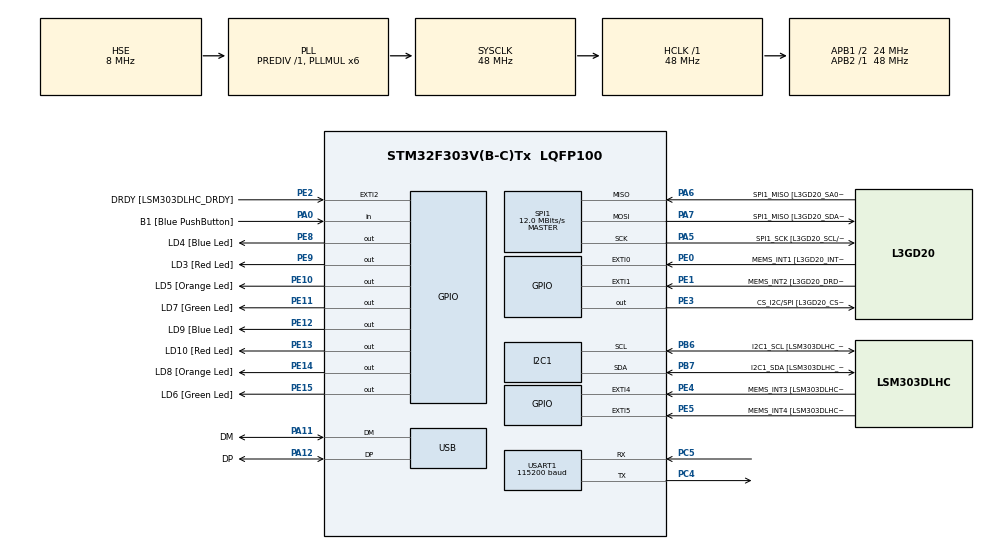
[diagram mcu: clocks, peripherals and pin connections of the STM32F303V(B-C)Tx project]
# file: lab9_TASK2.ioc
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I2C1.Timing=0x00201D2B
I2C1.Timing-I2C=0x2000090E
Mcu.Family=STM32F3
Mcu.Name=STM32F303V(B-C)Tx
Mcu.Package=LQFP100
NVIC.PriorityGroup=NVIC_PRIORITYGROUP_0
PA0.GPIO_Label=B1 [Blue PushButton]
PA0.Signal=GPIO_Input
PA11.GPIO_Label=DM
PA11.Mode=Device
PA11.Signal=USB_DM
PA12.GPIO_Label=DP
PA12.Mode=Device
PA12.Signal=USB_DP
PA13.GPIO_Label=SWDIO
PA13.Mode=Serial_Wire
PA13.Signal=SYS_JTMS-SWDIO
PA14.GPIO_Label=SWCLK
PA14.Mode=Serial_Wire
PA14.Signal=SYS_JTCK-SWCLK
PA5.GPIO_Label=SPI1_SCK [L3GD20_SCL/SPC]
PA5.Mode=Full_Duplex_Master
PA5.Signal=SPI1_SCK
PA6.GPIO_Label=SPI1_MISO [L3GD20_SA0/SDO]
PA6.Mode=Full_Duplex_Master
PA6.Signal=SPI1_MISO
PA7.GPIO_Label=SPI1_MISO [L3GD20_SDA/SDI/SDO]
PA7.Mode=Full_Duplex_Master
PA7.Signal=SPI1_MOSI
PB3.GPIO_Label=SWO
PB3.Signal=SYS_JTDO-TRACESWO
PB6.GPIO_Label=I2C1_SCL [LSM303DLHC_SCL]
PB6.GPIO_Pu=GPIO_PULLUP
PB6.Mode=I2C
PB6.Signal=I2C1_SCL
PB7.GPIO_Label=I2C1_SDA [LSM303DLHC_SDA]
PB7.GPIO_Pu=GPIO_PULLUP
PB7.Mode=I2C
PB7.Signal=I2C1_SDA
PC14-OSC32_IN.GPIO_Label=OSC32_IN
PC14-OSC32_IN.Signal=RCC_OSC32_IN
PC15-OSC32_OUT.GPIO_Label=OSC32_OUT
PC15-OSC32_OUT.Signal=RCC_OSC32_OUT
PC4.Mode=Asynchronous
PC4.Signal=USART1_TX
PC5.Mode=Asynchronous
PC5.Signal=USART1_RX
PE0.GPIO_Label=MEMS_INT1 [L3GD20_INT1]
PE0.GPIO_ModeDefaultEXTI=GPIO_MODE_EVT_RISING
PE0.Signal=GPXTI0
PE1.GPIO_Label=MEMS_INT2 [L3GD20_DRDY/INT2]
PE1.GPIO_ModeDefaultEXTI=GPIO_MODE_EVT_RISING
PE1.Signal=GPXTI1
PE10.GPIO_Label=LD5 [Orange Led]
PE10.Signal=GPIO_Output
PE11.GPIO_Label=LD7 [Green Led]
PE11.Signal=GPIO_Output
PE12.GPIO_Label=LD9 [Blue Led]
PE12.Signal=GPIO_Output
PE13.GPIO_Label=LD10 [Red Led]
PE13.Signal=GPIO_Output
PE14.GPIO_Label=LD8 [Orange Led]
PE14.Signal=GPIO_Output
PE15.GPIO_Label=LD6 [Green Led]
PE15.Signal=GPIO_Output
PE2.GPIO_Label=DRDY [LSM303DLHC_DRDY]
PE2.GPIO_ModeDefaultEXTI=GPIO_MODE_EVT_RISING
PE2.Signal=GPXTI2
PE3.GPIO_Label=CS_I2C/SPI [L3GD20_CS_I2C/SPI]
PE3.Signal=GPIO_Output
PE4.GPIO_Label=MEMS_INT3 [LSM303DLHC_INT1]
PE4.GPIO_ModeDefaultEXTI=GPIO_MODE_EVT_RISING
PE4.Signal=GPXTI4
PE5.GPIO_Label=MEMS_INT4 [LSM303DLHC_INT2]
PE5.GPIO_ModeDefaultEXTI=GPIO_MODE_EVT_RISING
PE5.Signal=GPXTI5
PE8.GPIO_Label=LD4 [Blue Led]
PE8.Signal=GPIO_Output
PE9.GPIO_Label=LD3 [Red Led]
PE9.Signal=GPIO_Output
PF0-OSC_IN.GPIO_Label=OSC_IN
PF0-OSC_IN.Mode=HSE-External-Clock-Source
PF0-OSC_IN.Signal=RCC_OSC_IN
PF1-OSC_OUT.GPIO_Label=OSC_OUT
PF1-OSC_OUT.Signal=RCC_OSC_OUT
ProjectManager.HeapSize=0x200
ProjectManager.StackSize=0x400
ProjectManager.TargetToolchain=CMake
RCC.AHBFreq_Value=48000000
RCC.APB1CLKDivider=RCC_HCLK_DIV2
RCC.APB1Freq_Value=24000000
RCC.APB1TimFreq_Value=48000000
RCC.APB2Freq_Value=48000000
RCC.APB2TimFreq_Value=48000000
RCC.CortexFreq_Value=48000000
RCC.HCLKFreq_Value=48000000
RCC.HSE_VALUE=8000000
RCC.HSI_VALUE=8000000
RCC.LSE_VALUE=32768
RCC.PLLMUL=RCC_PLL_MUL6
RCC.SYSCLKFreq_VALUE=48000000
RCC.SYSCLKSourceVirtual=RCC_SYSCLKSOURCE_PLLCLK
RCC.USBFreq_Value=48000000
SPI1.BaudRatePrescaler=SPI_BAUDRATEPRESCALER_4
SPI1.BaudRatePrescaler-Full_Duplex_Master=SPI_BAUDRATEPRESCALER_2
SPI1.CalculateBaudRate=12.0 MBits/s
SPI1.CalculateBaudRate-Full_Duplex_Master=24.0 MBits/s
SPI1.Direction=SPI_DIRECTION_2LINES
SPI1.Mode=SPI_MODE_MASTER
SPI1.Mode-Full_Duplex_Master=SPI_MODE_MASTER
SPI1.VirtualType=VM_MASTER
USART1.BaudRate=115200
USART1.VirtualMode-Asynchronous=VM_ASYNC
board=STM32F3DISCOVERY

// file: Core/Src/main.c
/* USER CODE BEGIN Header */
/**
  ******************************************************************************
  * @file           : main.c
  * @brief          : Main program body
  ******************************************************************************
  * @attention
  *
  * Copyright (c) 2026 STMicroelectronics.
  * All rights reserved.
  *
  * This software is licensed under terms that can be found in the LICENSE file
  * in the root directory of this software component.
  * If no LICENSE file comes with this software, it is provided AS-IS.
  *
  ******************************************************************************
  */
/* USER CODE END Header */
#include "main.h"

/* USER CODE BEGIN Includes */
#include <stdio.h>
#include <string.h>
#include <stdarg.h>
#include <math.h>
/* USER CODE END Includes */

/* USER CODE BEGIN PTD */
typedef struct {
    float ax, ay, az;
    float offset_x, offset_y, offset_z;
    float roll, pitch;
} LSM_Data;
/* USER CODE END PTD */

/* USER CODE BEGIN PD */
#define LSM_READ_ADDR 0x33 // 8-bit read address
#define WHO_AM_I_REG  0x0F // WHO_AM_I register
#define EXPECTED_ID   0x33 // Expected response

#define LSM303_ADDR   (0x19U << 1)
#define CTRL_REG1_A   0x20U
#define CTRL_REG4_A   0x23U
#define OUT_X_L_A     0x28U
#define ACC_G_PER_LSB 0.004f
#define RAD_TO_DEG    57.2957795f
/* USER CODE END PD */

I2C_HandleTypeDef hi2c1;
SPI_HandleTypeDef hspi1;
UART_HandleTypeDef huart1;

/* USER CODE BEGIN PV */
static LSM_Data sensor = {0};
/* USER CODE END PV */

void SystemClock_Config(void);
static void MX_GPIO_Init(void);
static void MX_I2C1_Init(void);
static void MX_SPI1_Init(void);
static void MX_USART1_UART_Init(void);

/* USER CODE BEGIN PFP */
void myPrintf(const char *fmt, ...);
/* USER CODE END PFP */

/* USER CODE BEGIN 0 */

void myPrintf(const char *fmt, ...)
{
    char buffer[256];
    va_list args;
    va_start(args, fmt);
    vsnprintf(buffer, sizeof(buffer), fmt, args);
    va_end(args);
    HAL_UART_Transmit(&huart1, (uint8_t*)buffer, strlen(buffer), HAL_MAX_DELAY);
}

/* ============================================================================
   TASK 2 FUNCTIONS (Commented out from active execution, but fully preserved)
   ============================================================================ */
/*
static HAL_StatusTypeDef Init_LSM(void)
{
    uint8_t config = 0x67;  // 200 Hz, all axes enabled, normal mode
    if (HAL_I2C_Mem_Write(&hi2c1, LSM303_ADDR, CTRL_REG1_A,
                          I2C_MEMADD_SIZE_8BIT, &config, 1, 100) != HAL_OK)
        return HAL_ERROR;

    config = 0x00;         // +/-2g, normal resolution
    if (HAL_I2C_Mem_Write(&hi2c1, LSM303_ADDR, CTRL_REG4_A,
                          I2C_MEMADD_SIZE_8BIT, &config, 1, 100) != HAL_OK)
        return HAL_ERROR;

    HAL_Delay(50);
    return HAL_OK;
}

static HAL_StatusTypeDef Read_LSM(LSM_Data *s)
{
    uint8_t data[6];
    if (HAL_I2C_Mem_Read(&hi2c1, LSM303_ADDR, OUT_X_L_A | 0x80U,
                        I2C_MEMADD_SIZE_8BIT, data, 6, 100) != HAL_OK)
        return HAL_ERROR;

    int16_t raw_x = (int16_t)(((uint16_t)data[1] << 8) | data[0]);
    int16_t raw_y = (int16_t)(((uint16_t)data[3] << 8) | data[2]);
    int16_t raw_z = (int16_t)(((uint16_t)data[5] << 8) | data[4]);

    s->ax = (raw_x / 64) * ACC_G_PER_LSB - s->offset_x;
    s->ay = (raw_y / 64) * ACC_G_PER_LSB - s->offset_y;
    s->az = (raw_z / 64) * ACC_G_PER_LSB - s->offset_z;

    s->roll = atan2f(s->ay, sqrtf(s->ax*s->ax + s->az*s->az)) * RAD_TO_DEG;
    s->pitch = atan2f(-s->ax, sqrtf(s->ay*s->ay + s->az*s->az)) * RAD_TO_DEG;
    return HAL_OK;
}

static HAL_StatusTypeDef Offset_LSM(LSM_Data *s)
{
    float sx = 0, sy = 0, sz = 0;
    const int samples = 20;
    s->offset_x = s->offset_y = s->offset_z = 0.0f;

    for (int i = 0; i < samples; ++i)
    {
        if (Read_LSM(s) != HAL_OK)
            return HAL_ERROR;
        sx += s->ax;
        sy += s->ay;
        sz += s->az;
        HAL_Delay(20);
    }
    s->offset_x = sx / samples;
    s->offset_y = sy / samples;
    float avg_z = sz / samples;
    s->offset_z = avg_z - ((avg_z >= 0.0f) ? 1.0f : -1.0f);
    return HAL_OK;
}

static void Print_LSM(const LSM_Data *s)
{
    char msg[128];
    int len = snprintf(msg, sizeof(msg), "X: %.3f g | Y: %.3f g | Z: %.3f g | Roll: %.2f° | Pitch: %.2f°\r\n",
                      s->ax, s->ay, s->az, s->roll, s->pitch);
    if (len > 0)
    {
        if (len >= (int)sizeof(msg))
            len = sizeof(msg) - 1;
        HAL_UART_Transmit(&huart1, (uint8_t *)msg, (uint16_t)len, 100);
    }
}
*/
/* USER CODE END 0 */

int main(void)
{

  /* MCU Configuration--------------------------------------------------------*/
  HAL_Init();

  SystemClock_Config();

  /* Initialize all configured peripherals */
  MX_GPIO_Init();
  MX_I2C1_Init();
  MX_SPI1_Init();
  MX_USART1_UART_Init();

  /* USER CODE BEGIN 2 */
  HAL_Delay(100); // sensor boot time[cite: 2]

  // ==========================================
  // TASK 1: Check WHO_AM_I register (ACTIVE)
  // ==========================================
  uint8_t who_am_i = 0;
  HAL_StatusTypeDef ret;

  ret = HAL_I2C_Mem_Read(&hi2c1, LSM_READ_ADDR, WHO_AM_I_REG,
                         I2C_MEMADD_SIZE_8BIT, &who_am_i, 1,
                         HAL_MAX_DELAY);

  if (ret != HAL_OK)
  {
      myPrintf("I2C ERROR: %d\r\n", ret);
  }
  else
  {
      myPrintf("WHO_AM_I = 0x%02X\r\n", who_am_i);
      if (who_am_i == EXPECTED_ID)
      {
          myPrintf("LSM303AGR detected successfully!\r\n");
      }
  }

  /*
  // ==========================================
  // TASK 2: Initialization & Calibration (COMMENTED OUT)
  // ==========================================
  if (Init_LSM() != HAL_OK)
  {
      myPrintf("LSM INIT FAILED\r\n");
      Error_Handler();
  }

  if (Offset_LSM(&sensor) != HAL_OK)
  {
      myPrintf("LSM CALIBRATION FAILED\r\n");
      Error_Handler();
  }
  */
  /* USER CODE END 2 */

  /* Infinite loop */
  while (1)
  {

    /* USER CODE BEGIN 3 */

    /*
    // ==========================================
    // TASK 2: Continuous Read Loop (COMMENTED OUT)
    // ==========================================
    if (Read_LSM(&sensor) == HAL_OK)
    {
        Print_LSM(&sensor);
    }
    else
    {
        myPrintf("LSM READ FAILED\r\n");
    }
    */

    HAL_Delay(100);
  /* USER CODE END 3 */
  }
}

void SystemClock_Config(void)
{
  RCC_OscInitTypeDef RCC_OscInitStruct = {0};
  RCC_ClkInitTypeDef RCC_ClkInitStruct = {0};
  RCC_PeriphCLKInitTypeDef PeriphClkInit = {0};

  RCC_OscInitStruct.OscillatorType = RCC_OSCILLATORTYPE_HSI|RCC_OSCILLATORTYPE_HSE;
  RCC_OscInitStruct.HSEState = RCC_HSE_BYPASS;
  RCC_OscInitStruct.HSEPredivValue = RCC_HSE_PREDIV_DIV1;
  RCC_OscInitStruct.HSIState = RCC_HSI_ON;
  RCC_OscInitStruct.HSICalibrationValue = RCC_HSICALIBRATION_DEFAULT;
  RCC_OscInitStruct.PLL.PLLState = RCC_PLL_ON;
  RCC_OscInitStruct.PLL.PLLSource = RCC_PLLSOURCE_HSE;
  RCC_OscInitStruct.PLL.PLLMUL = RCC_PLL_MUL6;
  if (HAL_RCC_OscConfig(&RCC_OscInitStruct) != HAL_OK)
  {
    Error_Handler();
  }

  RCC_ClkInitStruct.ClockType = RCC_CLOCKTYPE_HCLK|RCC_CLOCKTYPE_SYSCLK
                              |RCC_CLOCKTYPE_PCLK1|RCC_CLOCKTYPE_PCLK2;
  RCC_ClkInitStruct.SYSCLKSource = RCC_SYSCLKSOURCE_PLLCLK;
  RCC_ClkInitStruct.AHBCLKDivider = RCC_SYSCLK_DIV1;
  RCC_ClkInitStruct.APB1CLKDivider = RCC_HCLK_DIV2;
  RCC_ClkInitStruct.APB2CLKDivider = RCC_HCLK_DIV1;

  if (HAL_RCC_ClockConfig(&RCC_ClkInitStruct, FLASH_LATENCY_1) != HAL_OK)
  {
    Error_Handler();
  }

  PeriphClkInit.PeriphClockSelection = RCC_PERIPHCLK_USART1 | RCC_PERIPHCLK_I2C1;
  PeriphClkInit.Usart1ClockSelection = RCC_USART1CLKSOURCE_PCLK2;
  PeriphClkInit.I2c1ClockSelection = RCC_I2C1CLKSOURCE_HSI;
  if (HAL_RCCEx_PeriphCLKConfig(&PeriphClkInit) != HAL_OK)
  {
    Error_Handler();
  }
}

static void MX_I2C1_Init(void)
{
  hi2c1.Instance = I2C1;
  hi2c1.Init.Timing = 0x00201D2B;
  hi2c1.Init.OwnAddress1 = 0;
  hi2c1.Init.AddressingMode = I2C_ADDRESSINGMODE_7BIT;
  hi2c1.Init.DualAddressMode = I2C_DUALADDRESS_DISABLE;
  hi2c1.Init.OwnAddress2 = 0;
  hi2c1.Init.OwnAddress2Masks = I2C_OA2_NOMASK;
  hi2c1.Init.GeneralCallMode = I2C_GENERALCALL_DISABLE;
  hi2c1.Init.NoStretchMode = I2C_NOSTRETCH_DISABLE;
  if (HAL_I2C_Init(&hi2c1) != HAL_OK)
  {
    Error_Handler();
  }

  if (HAL_I2CEx_ConfigAnalogFilter(&hi2c1, I2C_ANALOGFILTER_ENABLE) != HAL_OK)
  {
    Error_Handler();
  }

  if (HAL_I2CEx_ConfigDigitalFilter(&hi2c1, 0) != HAL_OK)
  {
    Error_Handler();
  }
}

static void MX_SPI1_Init(void)
{
  hspi1.Instance = SPI1;
  hspi1.Init.Mode = SPI_MODE_MASTER;
  hspi1.Init.Direction = SPI_DIRECTION_2LINES;
  hspi1.Init.DataSize = SPI_DATASIZE_4BIT;
  hspi1.Init.CLKPolarity = SPI_POLARITY_LOW;
  hspi1.Init.CLKPhase = SPI_PHASE_1EDGE;
  hspi1.Init.NSS = SPI_NSS_SOFT;
  hspi1.Init.BaudRatePrescaler = SPI_BAUDRATEPRESCALER_4;
  hspi1.Init.FirstBit = SPI_FIRSTBIT_MSB;
  hspi1.Init.TIMode = SPI_TIMODE_DISABLE;
  hspi1.Init.CRCCalculation = SPI_CRCCALCULATION_DISABLE;
  hspi1.Init.CRCPolynomial = 7;
  hspi1.Init.CRCLength = SPI_CRC_LENGTH_DATASIZE;
  hspi1.Init.NSSPMode = SPI_NSS_PULSE_ENABLE;
  if (HAL_SPI_Init(&hspi1) != HAL_OK)
  {
    Error_Handler();
  }
}

static void MX_USART1_UART_Init(void)
{
  huart1.Instance = USART1;
  huart1.Init.BaudRate = 115200;
  huart1.Init.WordLength = UART_WORDLENGTH_8B;
  huart1.Init.StopBits = UART_STOPBITS_1;
  huart1.Init.Parity = UART_PARITY_NONE;
  huart1.Init.Mode = UART_MODE_TX_RX;
  huart1.Init.HwFlowCtl = UART_HWCONTROL_NONE;
  huart1.Init.OverSampling = UART_OVERSAMPLING_16;
  huart1.Init.OneBitSampling = UART_ONE_BIT_SAMPLE_DISABLE;
  huart1.AdvancedInit.AdvFeatureInit = UART_ADVFEATURE_NO_INIT;
  if (HAL_UART_Init(&huart1) != HAL_OK)
  {
    Error_Handler();
  }
}

static void MX_GPIO_Init(void)
{
  GPIO_InitTypeDef GPIO_InitStruct = {0};

  __HAL_RCC_GPIOE_CLK_ENABLE();
  __HAL_RCC_GPIOC_CLK_ENABLE();
  __HAL_RCC_GPIOF_CLK_ENABLE();
  __HAL_RCC_GPIOA_CLK_ENABLE();
  __HAL_RCC_GPIOB_CLK_ENABLE();

  HAL_GPIO_WritePin(GPIOE, CS_I2C_SPI_Pin|LD4_Pin|LD3_Pin|LD5_Pin
                          |LD7_Pin|LD9_Pin|LD10_Pin|LD8_Pin
                          |LD6_Pin, GPIO_PIN_RESET);

  GPIO_InitStruct.Pin = DRDY_Pin|MEMS_INT3_Pin|MEMS_INT4_Pin|MEMS_INT1_Pin
                          |MEMS_INT2_Pin;
  GPIO_InitStruct.Mode = GPIO_MODE_EVT_RISING;
  GPIO_InitStruct.Pull = GPIO_NOPULL;
  HAL_GPIO_Init(GPIOE, &GPIO_InitStruct);

  GPIO_InitStruct.Pin = CS_I2C_SPI_Pin|LD4_Pin|LD3_Pin|LD5_Pin
                          |LD7_Pin|LD9_Pin|LD10_Pin|LD8_Pin
                          |LD6_Pin;
  GPIO_InitStruct.Mode = GPIO_MODE_OUTPUT_PP;
  GPIO_InitStruct.Pull = GPIO_NOPULL;
  GPIO_InitStruct.Speed = GPIO_SPEED_FREQ_LOW;
  HAL_GPIO_Init(GPIOE, &GPIO_InitStruct);

  GPIO_InitStruct.Pin = B1_Pin;
  GPIO_InitStruct.Mode = GPIO_MODE_INPUT;
  GPIO_InitStruct.Pull = GPIO_NOPULL;
  HAL_GPIO_Init(B1_GPIO_Port, &GPIO_InitStruct);
}

void Error_Handler(void)
{
  __disable_irq();
  while (1)
  {
  }
}
